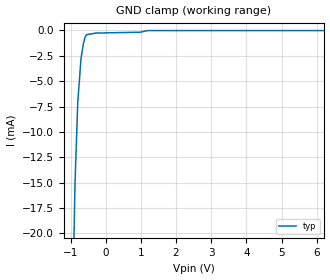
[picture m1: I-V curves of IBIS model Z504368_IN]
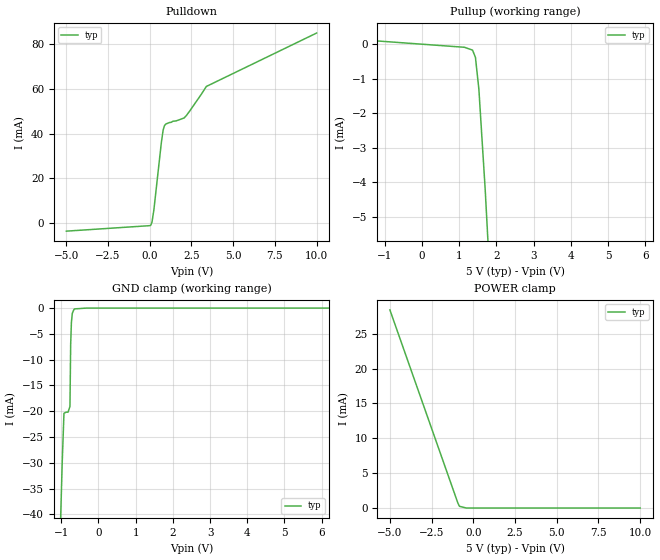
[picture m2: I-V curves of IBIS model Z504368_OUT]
| YOU ARE ONLY AUTHORIZED TO USE THIS SOFTWARE
| ACCORDING TO LICENSOR'S LICENSE RESTRICTIONS.
[IBIS Ver] 3.1
[File Name] sn54ls11j.ibs
[File Rev] 2.0
[Source] Measured and created by ICX Technology
[Date] Friday 7/14/00 9:08:13 AM
[Copyright]
| (C) COPYRIGHT 1993-2000
| MENTOR GRAPHICS CORPORATION
| ICX STANDARD LIBRARY, ICX PROJECT MODELING,
| ICX CUSTOM MODELING, ICX VENDOR MODEL
| ALL RIGHTS RESERVED.
| THE FOLLOWING ARE TRADEMARKS OR SERVICE MARKS OF
| MENTOR GRAPHICS CORPORATION:ICX (R), ICX STANDARD
| LIBRARY(R), ICX PROJECT MODELING(R), ICX CUSTOM
| MODELING(R), qualityIBIS(TM), MODELVIEWER(TM),
| AND MODELEDITOR(TM)
| ALL COPIES OF SOFTWARE, INCLUDING BUT NOT LIMITED TO
| ANY MODIFICATIONS, ENHANCEMENTS OR DERIVATIVE WORKS,
| MUST CONTAIN ALL MENTOR GRAPHICS CORPORATION'S
| NOTICES AND LEGENDS, INCLUDING THOSE EMBEDDED IN
| SOFTWARE AND THOSE AFFIXED TO SOFTWARE MEDIUM
| AND CONTAINER, AS RECEIVED FROM MENTOR GRAPHICS
| CORPORATION.
|  ZAP Model Builder 2.7
[Component] SN54LS11J
[Manufacturer] OnSemiconductor
[Package]
| variable   typ   min   max
R_pkg  .21ohms NA NA
L_pkg  4.543nH NA NA
C_pkg  1.8pF NA NA
[Pin] signal_name  model_name  R_pin  L_pin C_pin
1 A Z504368_IN .22 6.757n 2.434p
2 B Z504368_IN .212 4.757n 1.941p
3 A Z504368_IN .204 3.257n 1.448p
4 B Z504368_IN .196 2.257n .955p
5 C Z504368_IN .204 3.257n 1.448p
6 Y Z504368_OUT .212 4.757n 1.941p
7 GND GND .22 6.757n 2.434p
8 Y Z504368_OUT .22 6.757n 2.434p
9 A Z504368_IN .212 4.757n 1.941p
10 B Z504368_IN .204 3.257n 1.448p
11 C Z504368_IN .196 2.257n .955p
12 Y Z504368_OUT .204 3.257n 1.448p
13 C Z504368_IN .212 4.757n 1.941p
14 VCC POWER .22 6.757n 2.434p
| Models and submodels in the file (2): Z504368_IN (Input), Z504368_OUT (Output)
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| (C) COPYRIGHT 1993-2000
| MENTOR GRAPHICS CORPORATION
| ICX STANDARD LIBRARY, ICX PROJECT MODELING,
| ICX CUSTOM MODELING, ICX VENDOR MODEL
| ALL RIGHTS RESERVED.
| THE FOLLOWING ARE TRADEMARKS OR SERVICE MARKS OF
| MENTOR GRAPHICS CORPORATION:ICX (R), ICX STANDARD
| LIBRARY(R), ICX PROJECT MODELING(R), ICX CUSTOM
| MODELING(R), qualityIBIS(TM), MODELVIEWER(TM),
| AND MODELEDITOR(TM)
| ALL COPIES OF SOFTWARE, INCLUDING BUT NOT LIMITED TO
| ANY MODIFICATIONS, ENHANCEMENTS OR DERIVATIVE WORKS,
| MUST CONTAIN ALL MENTOR GRAPHICS CORPORATION'S
| NOTICES AND LEGENDS, INCLUDING THOSE EMBEDDED IN
| SOFTWARE AND THOSE AFFIXED TO SOFTWARE MEDIUM
| AND CONTAINER, AS RECEIVED FROM MENTOR GRAPHICS
| CORPORATION.
| Model Application Version 1.89 2/18/99.
[Model] Z504368_IN
Model_type Input
Vinl = 800.0mV
Vinh = 2.000V
C_comp 4.000pF NA NA
| variable typ   min   max
[Voltage Range] 5.000V NA NA
[GND Clamp Reference] 0.000V NA NA
[POWER Clamp Reference] 5.000V NA NA
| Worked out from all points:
|   GND clamp passes 1 mA (typ) near -0.61 V on its own axis
[GND Clamp]
-5V       -751.5mA   NA         NA
-874mV    -15.16mA   NA         NA
-795.9mV  -7.1mA     NA         NA
-703.1mV  -2.772mA   NA         NA
-634.8mV  -1.288mA   NA         NA
-584.5mV  -646.3uA   NA         NA
-546.9mV  -414.3uA   NA         NA
-273.4mV  -253.5uA   NA         NA
971.4mV   -172.5uA   NA         NA
1.188V    -9.935uA   NA         NA
10V       -9.935uA   NA         NA
[POWER Clamp]
-5V       0A         NA         NA
10V       0A         NA         NA
| (C) COPYRIGHT 1993-2000
| MENTOR GRAPHICS CORPORATION
| ICX STANDARD LIBRARY, ICX PROJECT MODELING,
| ICX CUSTOM MODELING, ICX VENDOR MODEL
| ALL RIGHTS RESERVED.
| THE FOLLOWING ARE TRADEMARKS OR SERVICE MARKS OF
| MENTOR GRAPHICS CORPORATION:ICX (R), ICX STANDARD
| LIBRARY(R), ICX PROJECT MODELING(R), ICX CUSTOM
| MODELING(R), qualityIBIS(TM), MODELVIEWER(TM),
| AND MODELEDITOR(TM)
| ALL COPIES OF SOFTWARE, INCLUDING BUT NOT LIMITED TO
| ANY MODIFICATIONS, ENHANCEMENTS OR DERIVATIVE WORKS,
| MUST CONTAIN ALL MENTOR GRAPHICS CORPORATION'S
| NOTICES AND LEGENDS, INCLUDING THOSE EMBEDDED IN
| SOFTWARE AND THOSE AFFIXED TO SOFTWARE MEDIUM
| AND CONTAINER, AS RECEIVED FROM MENTOR GRAPHICS
| CORPORATION.
| Model Application Version 1.89 2/18/99.
[Model] Z504368_OUT
Model_type Output
Vref=5.000V
Rref=2.000kohms
Cref=15.00pF
Vmeas=1.300V
C_comp 8.000pF NA NA
| variable typ   min   max
[Voltage Range] 5.000V NA NA
[POWER Clamp Reference] 5.000V NA NA
[Pullup Reference] 5.000V NA NA
[Pulldown Reference] 0.000V NA NA
[GND Clamp Reference] 0.000V NA NA
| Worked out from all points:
|   slope of the pulldown table from 0 to 0.75 V, typ, clamps not added: 18.8 ohm
|   slope of the pullup table from 0 to 0.75 V, typ, clamps not added: 12.8 kohm
|   GND clamp passes 1 mA (typ) near -0.70 V on its own axis
[GND Clamp]
-5V       -1.288A    NA         NA
-1.162V   -77.82mA   NA         NA
-975mV    -30.08mA   NA         NA
-927.4mV  -20.38mA   NA         NA
-818.4mV  -20.17mA   NA         NA
-766.5mV  -19.08mA   NA         NA
-747mV    -6.999mA   NA         NA
-727.6mV  -2.798mA   NA         NA
-703.1mV  -1.028mA   NA         NA
-644.8mV  -162.9uA   NA         NA
-322.4mV  0A         NA         NA
10V       0A         NA         NA
[Pulldown]
-5V       -3.453mA   NA         NA
29.3mV    -992.3uA   NA         NA
131.6mV   508.1uA    NA         NA
243mV     5.807mA    NA         NA
687.8mV   35.59mA    NA         NA
801mV     41.52mA    NA         NA
878.8mV   43.49mA    NA         NA
961.3mV   44.24mA    NA         NA
2.054V    46.92mA    NA         NA
2.392V    50.01mA    NA         NA
3.393V    60.98mA    NA         NA
10V       84.76mA    NA         NA
[Pullup]
-5V       385.5uA    NA         NA
1.14V     -94.35uA   NA         NA
1.358V    -177uA     NA         NA
1.436V    -389uA     NA         NA
1.528V    -1.311mA   NA         NA
1.698V    -4.221mA   NA         NA
10V       -171.7mA   NA         NA
[POWER Clamp]
-5V       28.41mA    NA         NA
-927mV    718.1uA    NA         NA
-835mV    250.5uA    NA         NA
-417.5mV  0A         NA         NA
10V       0A         NA         NA
[Ramp]
| variable typ min max
dV/dt_r 1.859/6.103n NA NA
dV/dt_f 1.859/1.432n NA NA
R_load = 500.0Ohms
